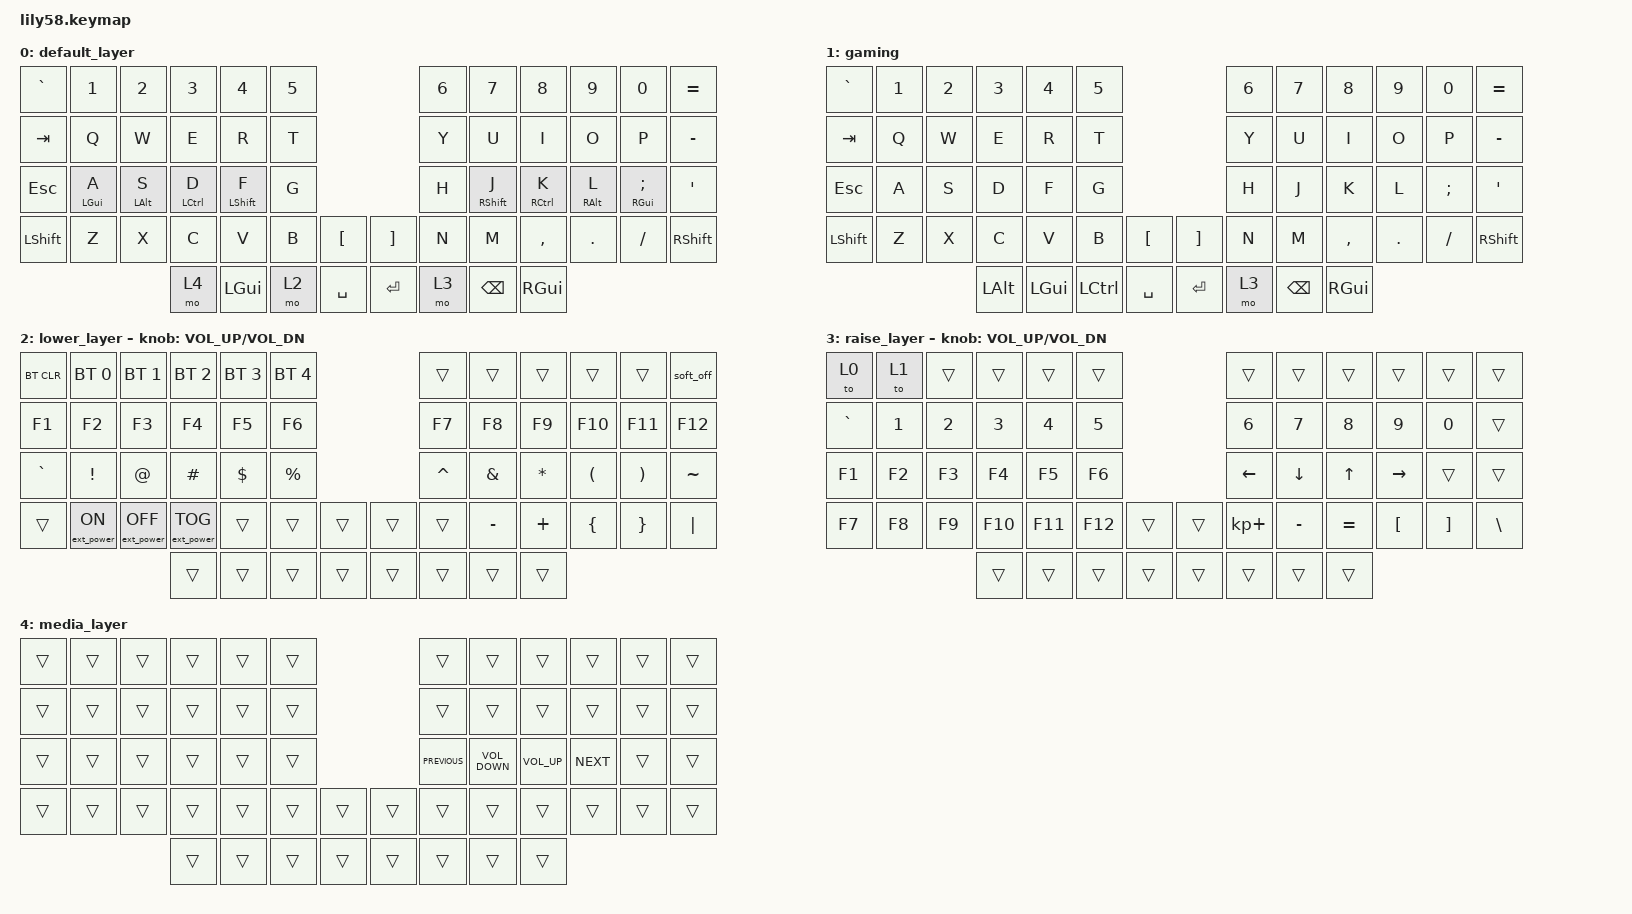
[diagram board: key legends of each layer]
/*
 * Copyright (c) 2020 The ZMK Contributors
 *
 * SPDX-License-Identifier: MIT
 */

#include <behaviors.dtsi>
#include <dt-bindings/zmk/bt.h>
#include <dt-bindings/zmk/ext_power.h>
#include <dt-bindings/zmk/keys.h>

/ {
    behaviors {
        hm: homerow_mod {
            compatible = "zmk,behavior-hold-tap";
            label = "Homerow Mods";
            bindings = <&kp>, <&kp>;

            #binding-cells = <2>;
            tapping-term-ms = <200>;
            quick-tap-ms = <0>;
            flavor = "tap-preferred";
        };
    };

    keymap {
        compatible = "zmk,keymap";

        default_layer {
            // ------------------------------------------------------------------------------------------------------------
            // |  ESC  |  1  |  2  |  3   |  4   |  5   |                   |  6   |  7    |  8    |  9   |   0   |   `   |
            // |  TAB  |  Q  |  W  |  E   |  R   |  T   |                   |  Y   |  U    |  I    |  O   |   P   |   -   |
            // |  CTRL |  A  |  S  |  D   |  F   |  G   |                   |  H   |  J    |  K    |  L   |   ;   |   '   |
            // | SHIFT |  Z  |  X  |  C   |  V   |  B   |   "["  |  |  "]"  |  N   |  M    |  ,    |  .   |   /   | SHIFT |
            //                     | ALT  | GUI  | LOWER|  SPACE |  | ENTER | RAISE| BSPC  | GUI   |

            bindings = <
&kp GRAVE  &kp N1          &kp N2          &kp N3              &kp N4            &kp N5                         &kp N6  &kp N7             &kp N8               &kp N9           &kp N0                   &kp EQUAL
&kp TAB    &kp Q           &kp W           &kp E               &kp R             &kp T                          &kp Y   &kp U              &kp I                &kp O            &kp P                    &kp MINUS
&kp ESC    &hm LEFT_GUI A  &hm LEFT_ALT S  &hm LEFT_CONTROL D  &hm LEFT_SHIFT F  &kp G                          &kp H   &hm RIGHT_SHIFT J  &hm RIGHT_CONTROL K  &hm RIGHT_ALT L  &hm RIGHT_GUI SEMICOLON  &kp SQT
&kp LSHFT  &kp Z           &kp X           &kp C               &kp V             &kp B   &kp LBKT     &kp RBKT  &kp N   &kp M              &kp COMMA            &kp DOT          &kp FSLH                 &kp RSHFT
                                           &mo 4               &kp LGUI          &mo 2   &kp SPACE    &kp RET   &mo 3   &kp BSPC           &kp RGUI
            >;
        };

        gaming {
            bindings = <
&kp GRAVE  &kp N1  &kp N2  &kp N3        &kp N4    &kp N5                                   &kp N6  &kp N7    &kp N8     &kp N9   &kp N0         &kp EQUAL
&kp TAB    &kp Q   &kp W   &kp E         &kp R     &kp T                                    &kp Y   &kp U     &kp I      &kp O    &kp P          &kp MINUS
&kp ESC    &kp A   &kp S   &kp D         &kp F     &kp G                                    &kp H   &kp J     &kp K      &kp L    &kp SEMICOLON  &kp SQT
&kp LSHFT  &kp Z   &kp X   &kp C         &kp V     &kp B             &kp LBKT     &kp RBKT  &kp N   &kp M     &kp COMMA  &kp DOT  &kp FSLH       &kp RSHFT
                           &kp LEFT_ALT  &kp LGUI  &kp LEFT_CONTROL  &kp SPACE    &kp RET   &mo 3   &kp BSPC  &kp RGUI
            >;
        };

        lower_layer {
            // ------------------------------------------------------------------------------------------------------------
            // | BTCLR | BT1 | BT2 |  BT3 |  BT4 |  BT5 |                   |      |       |       |      |       |       |
            // |  F1   |  F2 |  F3 |  F4  |  F5  |  F6  |                   |  F7  |  F8   |  F9   |  F10 |  F11  |  F12  |
            // |   `   |  !  |  @  |  #   |  $   |  %   |                   |  ^   |  &    |  *    |  (   |   )   |   ~   |
            // |       |     |     |      |      |      |        |  |       |      |  _    |  +    |  {   |   }   |  "|"  |
            //                     |      |      |      |        |  |       |      |       |       |

            bindings = <
&bt BT_CLR  &bt BT_SEL 0      &bt BT_SEL 1       &bt BT_SEL 2       &bt BT_SEL 3  &bt BT_SEL 4                    &trans     &trans     &trans     &trans    &trans    &soft_off
&kp F1      &kp F2            &kp F3             &kp F4             &kp F5        &kp F6                          &kp F7     &kp F8     &kp F9     &kp F10   &kp F11   &kp F12
&kp GRAVE   &kp EXCL          &kp AT             &kp HASH           &kp DOLLAR    &kp PRCNT                       &kp CARET  &kp AMPS   &kp ASTRK  &kp LPAR  &kp RPAR  &kp TILDE
&trans      &ext_power EP_ON  &ext_power EP_OFF  &ext_power EP_TOG  &trans        &trans        &trans    &trans  &trans     &kp MINUS  &kp PLUS   &kp LBRC  &kp RBRC  &kp PIPE
                                                 &trans             &trans        &trans        &trans    &trans  &trans     &trans     &trans
            >;

            sensor-bindings = <&inc_dec_kp C_VOL_UP C_VOL_DN>;
        };

        raise_layer {
            // ------------------------------------------------------------------------------------------------------------
            // |       |     |     |      |      |      |                   |      |       |       |      |       |       |
            // |   `   |  1  |  2  |  3   |  4   |  5   |                   |  6   |   7   |   8   |  9   |   0   |       |
            // |   F1  |  F2 |  F3 |  F4  |  F5  |  F6  |                   |      |   <-  |   v   |  ^   |  ->   |       |
            // |   F7  |  F8 |  F9 |  F10 |  F11 |  F12 |        |  |       |  +   |   -   |   =   |  [   |   ]   |   \   |
            //                     |      |      |      |        |  |       |      |       |       |

            bindings = <
&to 0      &to 1   &trans  &trans   &trans   &trans                     &trans       &trans     &trans     &trans     &trans    &trans
&kp GRAVE  &kp N1  &kp N2  &kp N3   &kp N4   &kp N5                     &kp N6       &kp N7     &kp N8     &kp N9     &kp N0    &trans
&kp F1     &kp F2  &kp F3  &kp F4   &kp F5   &kp F6                     &kp LEFT     &kp DOWN   &kp UP     &kp RIGHT  &trans    &trans
&kp F7     &kp F8  &kp F9  &kp F10  &kp F11  &kp F12  &trans    &trans  &kp KP_PLUS  &kp MINUS  &kp EQUAL  &kp LBKT   &kp RBKT  &kp BSLH
                           &trans   &trans   &trans   &trans    &trans  &trans       &trans     &trans
            >;

            sensor-bindings = <&inc_dec_kp C_VOL_UP C_VOL_DN>;
        };

        media_layer {
            bindings = <
&trans  &trans  &trans  &trans  &trans  &trans                    &trans          &trans             &trans           &trans      &trans  &trans
&trans  &trans  &trans  &trans  &trans  &trans                    &trans          &trans             &trans           &trans      &trans  &trans
&trans  &trans  &trans  &trans  &trans  &trans                    &kp C_PREVIOUS  &kp C_VOLUME_DOWN  &kp C_VOLUME_UP  &kp C_NEXT  &trans  &trans
&trans  &trans  &trans  &trans  &trans  &trans  &trans    &trans  &trans          &trans             &trans           &trans      &trans  &trans
                        &trans  &trans  &trans  &trans    &trans  &trans          &trans             &trans
            >;
        };
    };
};
